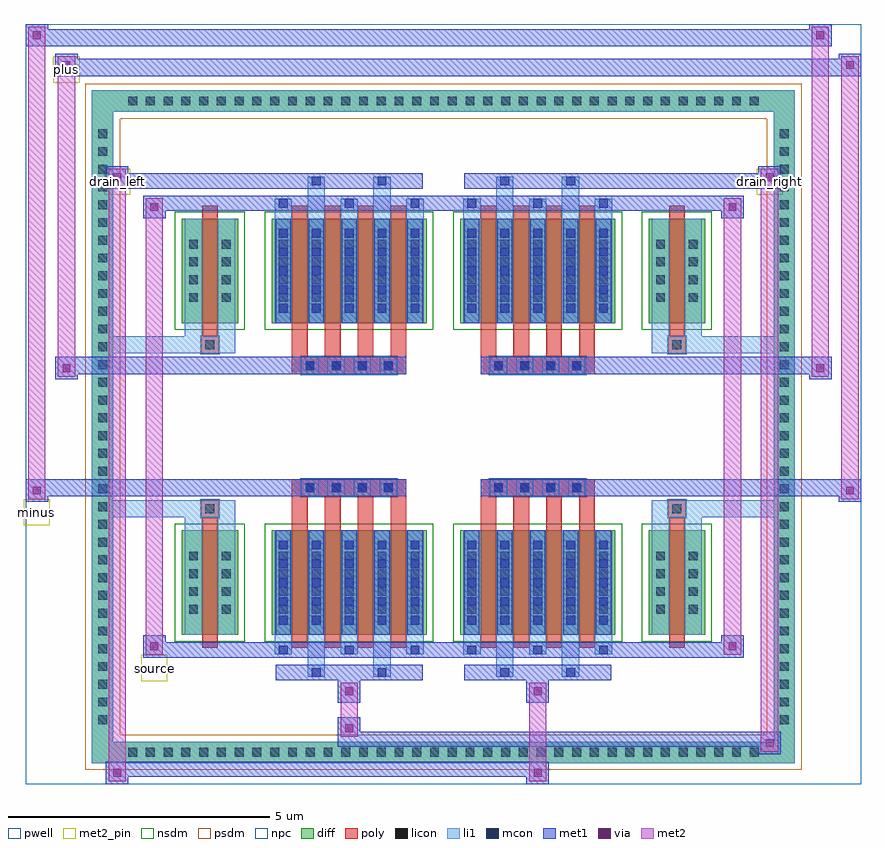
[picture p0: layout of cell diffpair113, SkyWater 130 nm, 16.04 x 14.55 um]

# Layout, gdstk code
import gdstk
lib = gdstk.Library(unit=1e-6, precision=5e-09)
def R(c, l, rs):  # rectangles x0, y0, x1, y1
    for r in rs: c.add(gdstk.rectangle(r[:2], r[2:], *l))
def A(c, l, x, y, w, h, nx, ny, dx, dy):  # array of equal rectangles
    R(c, l, [(x+i*dx, y+j*dy, x+i*dx+w, y+j*dy+h) for i in range(nx) for j in range(ny)])
def P(c, l, *ps):  # polygons
    for p in ps: c.add(gdstk.Polygon(p, *l))
pwell = (64, 44)
diff = (65, 20)
poly = (66, 20)
licon = (66, 44)
li1 = (67, 20)
mcon = (67, 44)
met1 = (68, 20)
via = (68, 44)
met2_pin = (69, 16)
met2 = (69, 20)
nsdm = (93, 44)
psdm = (94, 20)
npc = (95, 20)

diffpair113 = lib.new_cell('diffpair113')
R(diffpair113, pwell, [(-8,-6.84,8,7.71), (-5.32,-5.03,-0.01,-0.805), (0.01,-5.03,5.32,-0.805), (-5.32,0.805,-0.01,5.03), (0.01,0.805,5.32,5.03)])
A(diffpair113, diff, -6.155, -6.44, 0.41, 0.41, 36, 2, 0.34, 12.47)
A(diffpair113, diff, -6.73, -5.815, 0.41, 0.41, 1, 34, 0, 0.34)
A(diffpair113, diff, 6.32, -5.815, 0.41, 0.41, 1, 34, 0, 0.34)
R(diffpair113, diff, [(-6.155,-6.44,6.155,-6.03), (-6.73,-5.815,-6.32,5.815), (6.32,-5.815,6.73,5.815), (-5.01,-3.985,-3.93,-1.985), (-3.29,-3.985,-0.32,-1.985), (0.32,-3.985,3.29,-1.985), (3.93,-3.985,5.01,-1.985), (-5.01,1.985,-3.93,3.985), (-3.29,1.985,-0.32,3.985), (0.32,1.985,3.29,3.985), (3.93,1.985,5.01,3.985), (-6.155,6.03,6.155,6.44)])
P(diffpair113, diff, [(6.73,6.44),(-6.73,6.44),(-6.73,-6.03),(-6.32,-6.03),(-6.32,6.03),(6.32,6.03),(6.32,-6.03),(-6.32,-6.03),(-6.73,-6.03),(-6.73,-6.44),(6.73,-6.44)])
A(diffpair113, poly, -2.9, -4.235, 0.3, 2.5, 4, 2, 0.63, 5.97)
A(diffpair113, poly, 0.71, -4.235, 0.3, 2.5, 4, 2, 0.63, 5.97)
A(diffpair113, poly, -2.9, -1.735, 0.3, 0.4, 4, 2, 0.63, 3.07)
A(diffpair113, poly, 0.71, -1.735, 0.3, 0.4, 4, 2, 0.63, 3.07)
A(diffpair113, poly, -2.72, -1.335, 0.33, 0.33, 4, 2, 0.5, 2.34)
A(diffpair113, poly, 0.89, -1.335, 0.33, 0.33, 4, 2, 0.5, 2.34)
R(diffpair113, poly, [(-4.62,-4.235,-4.32,-1.735), (4.32,-4.235,4.62,-1.735), (-4.635,-1.735,-4.305,-1.405), (-4.635,-1.735,-4.305,-1.405), (4.305,-1.735,4.635,-1.405), (4.305,-1.735,4.635,-1.405), (-2.9,-1.335,-0.71,-1.005), (0.71,-1.335,2.9,-1.005), (-2.9,1.005,-0.71,1.335), (0.71,1.005,2.9,1.335), (-4.635,1.405,-4.305,1.735), (-4.635,1.405,-4.305,1.735), (4.305,1.405,4.635,1.735), (4.305,1.405,4.635,1.735), (-4.62,1.735,-4.32,4.235), (4.32,1.735,4.62,4.235)])
A(diffpair113, licon, -6.035, -6.32, 0.17, 0.17, 36, 2, 0.34, 12.47)
A(diffpair113, licon, -6.61, -5.695, 0.17, 0.17, 1, 34, 0, 0.34)
A(diffpair113, licon, 6.44, -5.695, 0.17, 0.17, 1, 34, 0, 0.34)
A(diffpair113, licon, -4.87, -3.58, 0.17, 0.17, 1, 4, 0, 0.34)
A(diffpair113, licon, -4.24, -3.58, 0.17, 0.17, 1, 4, 0, 0.34)
A(diffpair113, licon, -3.15, -3.58, 0.17, 0.17, 5, 4, 0.63, 0.34)
A(diffpair113, licon, 0.46, -3.58, 0.17, 0.17, 5, 4, 0.63, 0.34)
A(diffpair113, licon, 4.07, -3.58, 0.17, 0.17, 1, 4, 0, 0.34)
A(diffpair113, licon, 4.7, -3.58, 0.17, 0.17, 1, 4, 0, 0.34)
A(diffpair113, licon, -2.64, -1.255, 0.17, 0.17, 4, 2, 0.5, 2.34)
A(diffpair113, licon, 0.97, -1.255, 0.17, 0.17, 4, 2, 0.5, 2.34)
A(diffpair113, licon, -4.87, 2.39, 0.17, 0.17, 1, 4, 0, 0.34)
A(diffpair113, licon, -4.24, 2.39, 0.17, 0.17, 1, 4, 0, 0.34)
A(diffpair113, licon, -3.15, 2.39, 0.17, 0.17, 5, 4, 0.63, 0.34)
A(diffpair113, licon, 0.46, 2.39, 0.17, 0.17, 5, 4, 0.63, 0.34)
A(diffpair113, licon, 4.07, 2.39, 0.17, 0.17, 1, 4, 0, 0.34)
A(diffpair113, licon, 4.7, 2.39, 0.17, 0.17, 1, 4, 0, 0.34)
R(diffpair113, licon, [(-4.555,-1.655,-4.385,-1.485), (4.385,-1.655,4.555,-1.485), (-4.555,1.485,-4.385,1.655), (4.385,1.485,4.555,1.655)])
A(diffpair113, li1, -6.115, -6.4, 0.33, 0.33, 36, 2, 0.34, 12.47)
A(diffpair113, li1, -6.69, -5.775, 0.33, 0.33, 1, 34, 0, 0.34)
A(diffpair113, li1, 6.36, -5.775, 0.33, 0.33, 1, 34, 0, 0.34)
A(diffpair113, li1, -3.23, -4.36, 0.33, 0.375, 3, 2, 1.26, 8.345)
A(diffpair113, li1, -3.15, -4.36, 0.17, 0.17, 3, 2, 1.26, 8.55)
A(diffpair113, li1, 0.38, -4.36, 0.33, 0.375, 3, 2, 1.26, 8.345)
A(diffpair113, li1, 0.46, -4.36, 0.17, 0.17, 3, 2, 1.26, 8.55)
A(diffpair113, li1, -3.23, -3.985, 0.33, 2, 5, 2, 0.63, 5.97)
A(diffpair113, li1, 0.38, -3.985, 0.33, 2, 5, 2, 0.63, 5.97)
A(diffpair113, li1, -3.15, -3.79, 0.17, 0.17, 5, 5, 0.63, 0.36)
A(diffpair113, li1, -3.15, -3.79, 0.17, 1.61, 5, 2, 0.63, 5.97)
A(diffpair113, li1, 0.46, -3.79, 0.17, 0.17, 5, 5, 0.63, 0.36)
A(diffpair113, li1, 0.46, -3.79, 0.17, 1.61, 5, 2, 0.63, 5.97)
A(diffpair113, li1, -4.95, -3.66, 0.33, 0.33, 1, 4, 0, 0.34)
A(diffpair113, li1, -4.32, -3.66, 0.33, 0.33, 1, 4, 0, 0.34)
A(diffpair113, li1, -3.23, -3.66, 0.33, 0.33, 5, 4, 0.63, 0.34)
A(diffpair113, li1, 0.38, -3.66, 0.33, 0.33, 5, 4, 0.63, 0.34)
A(diffpair113, li1, 3.99, -3.66, 0.33, 0.33, 1, 4, 0, 0.34)
A(diffpair113, li1, 4.62, -3.66, 0.33, 0.33, 1, 4, 0, 0.34)
A(diffpair113, li1, -2.72, -1.335, 0.33, 0.33, 4, 2, 0.5, 2.34)
A(diffpair113, li1, 0.89, -1.335, 0.33, 0.33, 4, 2, 0.5, 2.34)
A(diffpair113, li1, -3.15, 2.18, 0.17, 0.17, 5, 5, 0.63, 0.36)
A(diffpair113, li1, 0.46, 2.18, 0.17, 0.17, 5, 5, 0.63, 0.36)
A(diffpair113, li1, -4.95, 2.31, 0.33, 0.33, 1, 4, 0, 0.34)
A(diffpair113, li1, -4.32, 2.31, 0.33, 0.33, 1, 4, 0, 0.34)
A(diffpair113, li1, -3.23, 2.31, 0.33, 0.33, 5, 4, 0.63, 0.34)
A(diffpair113, li1, 0.38, 2.31, 0.33, 0.33, 5, 4, 0.63, 0.34)
A(diffpair113, li1, 3.99, 2.31, 0.33, 0.33, 1, 4, 0, 0.34)
A(diffpair113, li1, 4.62, 2.31, 0.33, 0.33, 1, 4, 0, 0.34)
R(diffpair113, li1, [(-6.73,-6.44,-6.32,-6.03), (-6.73,-6.44,-6.32,-6.03), (-6.32,-6.44,6.32,-6.03), (6.32,-6.44,6.73,-6.03), (6.32,-6.44,6.73,-6.03), (-6.73,-6.03,-6.32,6.03), (6.32,-6.03,6.73,6.03), (-2.6,-4.79,-2.27,-3.985), (-2.52,-4.79,-2.35,-4.62), (-1.34,-4.79,-1.01,-3.985), (-1.26,-4.79,-1.09,-4.62), (1.01,-4.79,1.34,-3.985), (1.09,-4.79,1.26,-4.62), (2.27,-4.79,2.6,-3.985), (2.35,-4.79,2.52,-4.62), (-4.95,-3.985,-4.62,-1.985), (-4.32,-3.985,-3.99,-1.985), (3.99,-3.985,4.32,-1.985), (4.62,-3.985,4.95,-1.985), (-4.95,-1.985,-4.62,-1.405), (-4.32,-1.985,-3.99,-1.405), (3.99,-1.985,4.32,-1.405), (4.62,-1.985,4.95,-1.405), (-6.73,-1.735,-4.635,-1.405), (-4.95,-1.735,-4.635,-1.405), (-4.635,-1.735,-4.305,-1.405), (-4.305,-1.735,-3.99,-1.405), (3.99,-1.735,4.305,-1.405), (4.305,-1.735,4.635,-1.405), (4.305,-1.735,6.73,-1.405), (4.635,-1.735,4.95,-1.405), (-6.73,1.405,-4.635,1.735), (-4.95,1.405,-4.635,1.735), (-4.95,1.405,-4.62,1.985), (-4.635,1.405,-4.305,1.735), (-4.32,1.405,-3.99,1.985), (-4.305,1.405,-3.99,1.735), (3.99,1.405,4.305,1.735), (3.99,1.405,4.32,1.985), (4.305,1.405,4.635,1.735), (4.305,1.405,6.73,1.735), (4.62,1.405,4.95,1.985), (4.635,1.405,4.95,1.735), (-4.95,1.985,-4.62,3.985), (-4.32,1.985,-3.99,3.985), (3.99,1.985,4.32,3.985), (4.62,1.985,4.95,3.985), (-2.6,3.985,-2.27,4.79), (-1.34,3.985,-1.01,4.79), (1.01,3.985,1.34,4.79), (2.27,3.985,2.6,4.79), (-2.52,4.62,-2.35,4.79), (-1.26,4.62,-1.09,4.79), (1.09,4.62,1.26,4.79), (2.35,4.62,2.52,4.79), (-6.73,6.03,-6.32,6.44), (-6.73,6.03,-6.32,6.44), (-6.32,6.03,6.32,6.44), (6.32,6.03,6.73,6.44), (6.32,6.03,6.73,6.44)])
A(diffpair113, mcon, -3.15, -4.36, 0.17, 0.17, 3, 2, 1.26, 8.55)
A(diffpair113, mcon, 0.46, -4.36, 0.17, 0.17, 3, 2, 1.26, 8.55)
A(diffpair113, mcon, -3.15, -3.79, 0.17, 0.17, 5, 5, 0.63, 0.36)
A(diffpair113, mcon, 0.46, -3.79, 0.17, 0.17, 5, 5, 0.63, 0.36)
A(diffpair113, mcon, -2.64, -1.255, 0.17, 0.17, 4, 2, 0.5, 2.34)
A(diffpair113, mcon, 0.97, -1.255, 0.17, 0.17, 4, 2, 0.5, 2.34)
A(diffpair113, mcon, -3.15, 2.18, 0.17, 0.17, 5, 5, 0.63, 0.36)
A(diffpair113, mcon, 0.46, 2.18, 0.17, 0.17, 5, 5, 0.63, 0.36)
R(diffpair113, mcon, [(-2.52,-4.79,-2.35,-4.62), (-1.26,-4.79,-1.09,-4.62), (1.09,-4.79,1.26,-4.62), (2.35,-4.79,2.52,-4.62), (-2.52,4.62,-2.35,4.79), (-1.26,4.62,-1.09,4.79), (1.09,4.62,1.26,4.79), (2.35,4.62,2.52,4.79)])
A(diffpair113, met1, -3.21, -4.42, 0.29, 0.29, 3, 2, 1.26, 8.55)
A(diffpair113, met1, 0.4, -4.42, 0.29, 0.29, 3, 2, 1.26, 8.55)
A(diffpair113, met1, -3.21, -3.985, 0.29, 2, 5, 2, 0.63, 5.97)
A(diffpair113, met1, 0.4, -3.985, 0.29, 2, 5, 2, 0.63, 5.97)
A(diffpair113, met1, -3.21, -3.85, 0.29, 0.29, 5, 5, 0.63, 0.36)
A(diffpair113, met1, 0.4, -3.85, 0.29, 0.29, 5, 5, 0.63, 0.36)
A(diffpair113, met1, -2.7, -1.315, 0.29, 0.29, 4, 2, 0.5, 2.34)
A(diffpair113, met1, 0.91, -1.315, 0.29, 0.29, 4, 2, 0.5, 2.34)
A(diffpair113, met1, -3.21, 2.12, 0.29, 0.29, 5, 5, 0.63, 0.36)
A(diffpair113, met1, 0.4, 2.12, 0.29, 0.29, 5, 5, 0.63, 0.36)
R(diffpair113, met1, [(-6.46,-6.84,-6.03,-6.41), (1.59,-6.84,2.02,-6.41), (-6.46,-6.7,2.02,-6.41), (6.03,-6.27,6.46,-5.84), (-2.02,-6.13,6.46,-5.84), (-2.02,-5.99,-1.59,-5.56), (-2.02,-5.28,-1.59,-4.85), (1.59,-5.28,2.02,-4.85), (-3.21,-4.85,-0.4,-4.56), (-2.58,-4.85,-2.29,-4.56), (-1.32,-4.85,-1.03,-4.56), (0.4,-4.85,3.21,-4.56), (1.03,-4.85,1.32,-4.56), (2.29,-4.85,2.58,-4.56), (-5.75,-4.42,-5.32,-3.99), (-5.75,-4.42,-3.21,-4.13), (-3.21,-4.42,-0.4,-4.13), (-0.4,-4.42,0.4,-4.13), (0.4,-4.42,3.21,-4.13), (3.21,-4.42,5.75,-4.13), (5.32,-4.42,5.75,-3.99), (-8,-1.435,-7.57,-1.005), (7.57,-1.435,8,-1.005), (-8,-1.335,-0.71,-1.005), (-2.9,-1.335,-0.71,-1.005), (0.71,-1.335,2.9,-1.005), (0.71,-1.335,8,-1.005), (-7.43,0.905,-7,1.335), (7,0.905,7.43,1.335), (-7.43,1.005,-2.9,1.335), (-2.9,1.005,-0.71,1.335), (0.71,1.005,2.9,1.335), (2.9,1.005,7.43,1.335), (-5.75,3.99,-5.32,4.42), (5.32,3.99,5.75,4.42), (-5.75,4.13,-3.21,4.42), (-3.21,4.13,-0.4,4.42), (-0.4,4.13,0.4,4.42), (0.4,4.13,3.21,4.42), (3.21,4.13,5.75,4.42), (-6.46,4.56,-6.03,4.99), (-6.46,4.56,-3.21,4.85), (-3.21,4.56,-0.4,4.85), (-2.58,4.56,-2.29,4.85), (-1.32,4.56,-1.03,4.85), (0.4,4.56,3.21,4.85), (1.03,4.56,1.32,4.85), (2.29,4.56,2.58,4.85), (3.21,4.56,6.46,4.85), (6.03,4.56,6.46,4.99), (-7.43,6.71,-7,7.14), (-7.43,6.71,-5.32,7.04), (-5.32,6.71,5.32,7.04), (5.32,6.71,8,7.04), (7.57,6.71,8,7.14), (-8,7.28,-7.57,7.71), (-8,7.28,-5.32,7.61), (-5.32,7.28,5.32,7.61), (5.32,7.28,7.43,7.61), (7,7.28,7.43,7.71)])
R(diffpair113, via, [(-6.32,-6.7,-6.17,-6.55), (1.73,-6.7,1.88,-6.55), (6.17,-6.13,6.32,-5.98), (-1.88,-5.85,-1.73,-5.7), (-1.88,-5.14,-1.73,-4.99), (1.73,-5.14,1.88,-4.99), (-5.61,-4.28,-5.46,-4.13), (5.46,-4.28,5.61,-4.13), (-7.86,-1.295,-7.71,-1.145), (7.71,-1.295,7.86,-1.145), (-7.29,1.045,-7.14,1.195), (7.14,1.045,7.29,1.195), (-5.61,4.13,-5.46,4.28), (5.46,4.13,5.61,4.28), (-6.32,4.7,-6.17,4.85), (6.17,4.7,6.32,4.85), (-7.29,6.85,-7.14,7), (7.71,6.85,7.86,7), (-7.86,7.42,-7.71,7.57), (7.14,7.42,7.29,7.57)])
R(diffpair113, met2_pin, [(-5.785,-4.87,-5.285,-4.37), (-8.035,-1.885,-7.535,-1.385), (-6.495,4.44,-5.995,4.94), (5.995,4.44,6.495,4.94), (-7.465,6.59,-6.965,7.09)])
R(diffpair113, met2, [(-6.41,-6.79,-6.08,-6.46), (-6.41,-6.79,-6.08,4.94), (1.64,-6.79,1.97,-6.46), (1.64,-6.46,1.97,-5.23), (6.08,-6.22,6.41,-5.89), (6.08,-6.22,6.41,4.94), (-1.97,-5.94,-1.64,-5.61), (-1.97,-5.61,-1.64,-5.23), (-1.97,-5.23,-1.64,-4.9), (1.64,-5.23,1.97,-4.9), (-5.7,-4.37,-5.37,-4.04), (-5.7,-4.37,-5.37,4.37), (5.37,-4.37,5.7,-4.04), (5.37,-4.37,5.7,4.37), (-7.95,-1.385,-7.62,-1.055), (-7.95,-1.385,-7.62,7.66), (7.62,-1.385,7.95,-1.055), (7.62,-1.385,7.95,7.09), (-7.38,0.955,-7.05,1.285), (-7.38,0.955,-7.05,7.09), (7.05,0.955,7.38,1.285), (7.05,0.955,7.38,7.66), (-5.7,4.04,-5.37,4.37), (5.37,4.04,5.7,4.37), (-6.41,4.61,-6.08,4.94), (6.08,4.61,6.41,4.94), (-7.38,6.76,-7.05,7.09), (7.62,6.76,7.95,7.09), (-7.95,7.33,-7.62,7.66), (7.05,7.33,7.38,7.66)])
P(diffpair113, met2, [(7.95,-1.385),(7.95,-1.385),(7.95,-1.055),(7.95,-1.055)],
  [(7.95,6.76),(7.95,6.76),(7.95,7.09),(7.95,7.09)],
  [(-7.62,-1.385),(-7.62,-1.385),(-7.62,-1.055),(-7.62,-1.055)],
  [(-7.62,7.33),(-7.62,7.33),(-7.62,7.66),(-7.62,7.66)],
  [(7.38,0.955),(7.38,0.955),(7.38,1.285),(7.38,1.285)],
  [(7.38,7.33),(7.38,7.33),(7.38,7.66),(7.38,7.66)],
  [(-7.05,0.955),(-7.05,0.955),(-7.05,1.285),(-7.05,1.285)],
  [(-7.05,6.76),(-7.05,6.76),(-7.05,7.09),(-7.05,7.09)],
  [(-6.08,-6.79),(-6.08,-6.79),(-6.08,-6.46),(-6.08,-6.46)],
  [(-6.08,4.61),(-6.08,4.61),(-6.08,4.94),(-6.08,4.94)],
  [(6.41,-6.22),(6.41,-6.22),(6.41,-5.89),(6.41,-5.89)],
  [(6.41,4.61),(6.41,4.61),(6.41,4.94),(6.41,4.94)],
  [(-5.37,-4.37),(-5.37,-4.37),(-5.37,-4.04),(-5.37,-4.04)],
  [(-5.37,4.04),(-5.37,4.04),(-5.37,4.37),(-5.37,4.37)],
  [(5.7,-4.37),(5.7,-4.37),(5.7,-4.04),(5.7,-4.04)],
  [(5.7,4.04),(5.7,4.04),(5.7,4.37),(5.7,4.37)])
R(diffpair113, nsdm, [(-5.14,-4.115,-3.8,-1.855), (-3.42,-4.115,-0.19,-1.855), (0.19,-4.115,3.42,-1.855), (3.8,-4.115,5.14,-1.855), (-5.14,1.855,-3.8,4.115), (-3.42,1.855,-0.19,4.115), (0.19,1.855,3.42,4.115), (3.8,1.855,5.14,4.115)])
P(diffpair113, psdm, [(6.86,6.57),(-6.86,6.57),(-6.86,-5.9),(-6.19,-5.9),(-6.19,5.9),(6.19,5.9),(6.19,-5.9),(-6.19,-5.9),(-6.86,-5.9),(-6.86,-6.57),(6.86,-6.57)])
A(diffpair113, npc, -2.74, -1.355, 0.37, 0.37, 4, 2, 0.5, 2.34)
A(diffpair113, npc, 0.87, -1.355, 0.37, 0.37, 4, 2, 0.5, 2.34)
R(diffpair113, npc, [(-4.655,-1.755,-4.285,-1.385), (4.285,-1.755,4.655,-1.385), (-2.74,-1.355,-1.87,-0.985), (-2.74,-1.355,-1.87,-0.985), (-2.24,-1.355,-1.37,-0.985), (-2.24,-1.355,-1.37,-0.985), (-1.74,-1.355,-0.87,-0.985), (-1.74,-1.355,-0.87,-0.985), (0.87,-1.355,1.74,-0.985), (0.87,-1.355,1.74,-0.985), (1.37,-1.355,2.24,-0.985), (1.37,-1.355,2.24,-0.985), (1.87,-1.355,2.74,-0.985), (1.87,-1.355,2.74,-0.985), (-2.74,0.985,-1.87,1.355), (-2.74,0.985,-1.87,1.355), (-2.24,0.985,-1.37,1.355), (-2.24,0.985,-1.37,1.355), (-1.74,0.985,-0.87,1.355), (-1.74,0.985,-0.87,1.355), (0.87,0.985,1.74,1.355), (0.87,0.985,1.74,1.355), (1.37,0.985,2.24,1.355), (1.37,0.985,2.24,1.355), (1.87,0.985,2.74,1.355), (1.87,0.985,2.74,1.355), (-4.655,1.385,-4.285,1.755), (4.285,1.385,4.655,1.755)])
diffpair113.add(gdstk.Label('minus', (-7.785,-1.635), layer=69, texttype=5))
diffpair113.add(gdstk.Label('drain_right', (6.245,4.69), layer=69, texttype=5))
diffpair113.add(gdstk.Label('drain_left', (-6.245,4.69), layer=69, texttype=5))
diffpair113.add(gdstk.Label('source', (-5.535,-4.62), layer=69, texttype=5))
diffpair113.add(gdstk.Label('plus', (-7.215,6.84), layer=69, texttype=5))

lib.write_gds('diffpair113.gds')
